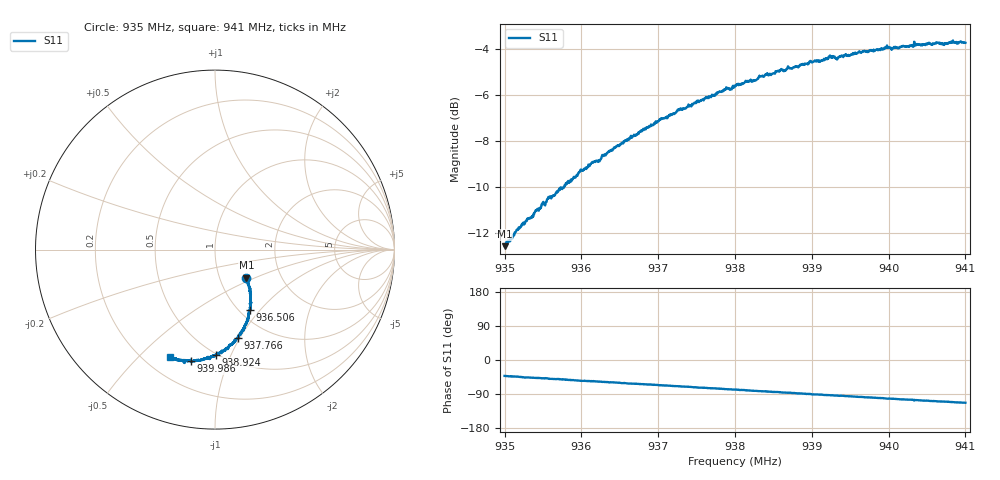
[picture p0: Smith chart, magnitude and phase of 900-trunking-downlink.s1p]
! Calibrated averaged scanner-service zoom
# Hz S RI R 50
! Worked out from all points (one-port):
!   1001 points, 935 MHz to 941 MHz, reference 50 ohm
!   lowest |S11| = -12.6 dB at 935 MHz (marker M1), VSWR 1.61, Z = 66.9 - j22.2 ohm
!   |S11| at or under -10 dB: start of sweep to 935.7762 MHz
!   S11 on the Smith chart (normalised r, x): 935 MHz: 1.34, -0.44; 936.506 MHz: 1.11, -0.88; 937.766 MHz: 0.74, -0.98; 938.924 MHz: 0.49, -0.88; 939.986 MHz: 0.36, -0.74; 941 MHz: 0.30, -0.62
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9.35e8  0.1746 -0.1569
9.3521e8  0.1833 -0.1818
9.35354e8  0.1875 -0.1976
9.3557e8  0.1963 -0.2273
9.3575e8  0.1943 -0.2449
9.35984e8  0.1961 -0.2805
9.36146e8  0.2003 -0.2969
9.3623e8  0.1963 -0.3024
9.365e8  0.195 -0.3389
9.36506e8  0.1938 -0.3382
9.36938e8  0.178 -0.3926
9.3725e8  0.1655 -0.4334
9.37766e8  0.1298 -0.4903
9.38e8  0.1062 -0.5111
9.38258e8  0.0825 -0.5327
9.38336e8  0.0746 -0.5452
9.3875e8  0.0303 -0.5723
9.38924e8  0.00566 -0.5855
9.39248e8  -0.0324 -0.6035
9.39332e8  -0.0402 -0.5977
9.395e8  -0.0612 -0.6075
9.39632e8  -0.0802 -0.6146
9.39908e8  -0.1159 -0.6223
9.39986e8  -0.1339 -0.6227
9.4025e8  -0.1609 -0.6191
9.40514e8  -0.1957 -0.6189
9.40874e8  -0.2415 -0.6059
9.41e8  -0.253 -0.5996
